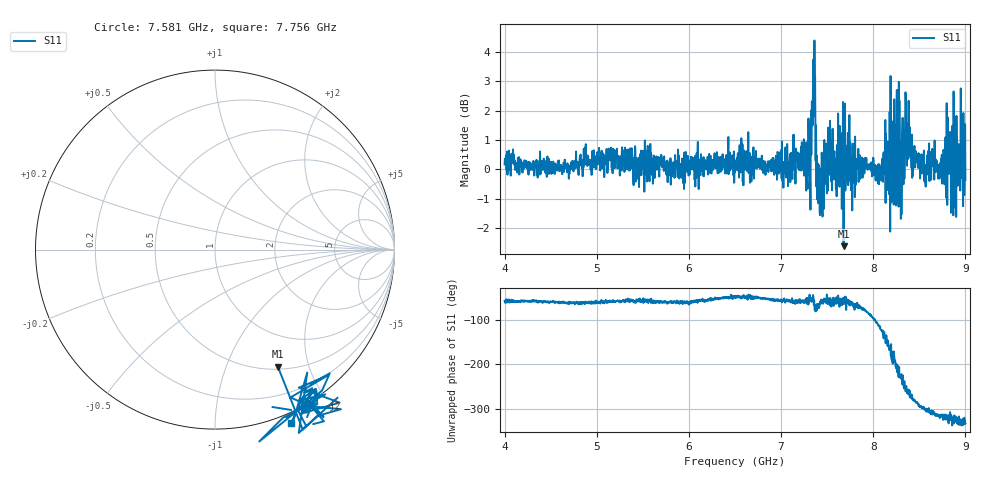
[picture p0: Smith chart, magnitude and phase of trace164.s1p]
! Created with skrf 1.8.0 (http://scikit-rf.org).
# Hz S RI R 50.0
!freq ReS11 ImS11
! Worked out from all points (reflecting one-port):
!   1601 points, 4 GHz to 9 GHz, reference 50 ohm
!   lowest |S11| = -2.6 dB at 7.678 GHz (marker M1), VSWR 6.69, Z = 26.7 - j76.9 ohm
!   phase of S11 starts at -57 deg and turns -277 deg over the sweep
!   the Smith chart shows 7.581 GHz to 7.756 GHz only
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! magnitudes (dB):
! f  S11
! 4 GHz  0.2
! 4.625 GHz  -0.2
! 5.25 GHz  -0.2
! 5.875 GHz  0.1
! 6.5 GHz  0.2
! 7.125 GHz  0.2
! 7.294 GHz  -0.2
! 7.347 GHz  3.6
! 7.372 GHz  1.9
! 7.397 GHz  -0.1
! 7.409 GHz  -1.0
! 7.525 GHz  1.0
! 7.591 GHz  0.4
! 7.65 GHz  1.1
! 7.678 GHz  -2.6
! 7.75 GHz  0.9
! 8.2 GHz  0.3
! 8.262 GHz  -1.2
! 8.312 GHz  1.1
! 8.338 GHz  -0.3
! 8.375 GHz  1.0
! 8.431 GHz  -0.2
! 8.556 GHz  -0.4
! 8.734 GHz  0.2
! 8.834 GHz  1.3
! 8.856 GHz  1.0
! 8.972 GHz  0.4
! 9 GHz  -0.4
